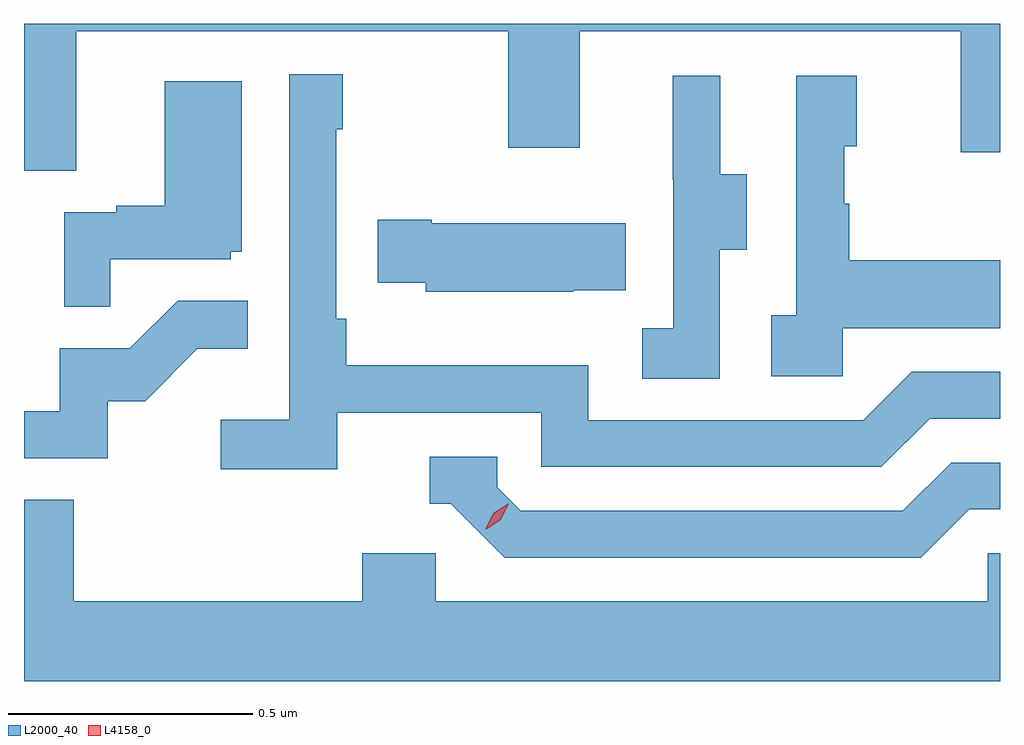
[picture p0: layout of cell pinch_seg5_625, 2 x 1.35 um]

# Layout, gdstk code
import gdstk
lib = gdstk.Library(unit=1e-6, precision=1e-09)
def P(c, l, *ps):  # polygons
    for p in ps: c.add(gdstk.Polygon(p, *l))
L2000_40 = (2000, 40)
L4158_0 = (4158, 0)

pinch_seg5_625 = lib.new_cell('pinch_seg5_625')
P(pinch_seg5_625, L2000_40, [(1016.977,864.752),(1017.862,864.752),(1017.862,864.513),(1018.009,864.513),(1018.009,864.752),(1018.79,864.752),(1018.79,864.504),(1018.87,864.504),(1018.87,864.767),(1016.87,864.767),(1016.87,864.466),(1016.977,864.466)],
  [(1017.512,863.97),(1017.93,863.97),(1017.93,863.859),(1018.627,863.859),(1018.726,863.958),(1018.87,863.958),(1018.87,864.054),(1018.689,864.054),(1018.59,863.955),(1018.026,863.955),(1018.026,864.067),(1017.53,864.067),(1017.53,864.163),(1017.51,864.163),(1017.51,864.551),(1017.523,864.551),(1017.523,864.664),(1017.414,864.664),(1017.414,863.956),(1017.273,863.956),(1017.273,863.854),(1017.512,863.854)],
  [(1018.296,864.304),(1018.351,864.304),(1018.351,864.459),(1018.297,864.459),(1018.297,864.661),(1018.199,864.661),(1018.199,864.447),(1018.2,864.447),(1018.2,864.143),(1018.137,864.143),(1018.137,864.04),(1018.296,864.04)],
  [(1018.548,864.143),(1018.87,864.143),(1018.87,864.283),(1018.561,864.283),(1018.561,864.398),(1018.551,864.398),(1018.551,864.516),(1018.576,864.516),(1018.576,864.661),(1018.452,864.661),(1018.452,864.17),(1018.401,864.17),(1018.401,864.045),(1018.548,864.045)],
  [(1017.047,864.285),(1017.294,864.285),(1017.294,864.3),(1017.316,864.3),(1017.316,864.649),(1017.158,864.649),(1017.158,864.394),(1017.059,864.394),(1017.059,864.381),(1016.952,864.381),(1016.952,864.187),(1017.047,864.187)],
  [(1017.995,864.221),(1018.103,864.221),(1018.103,864.358),(1017.706,864.358),(1017.706,864.366),(1017.595,864.366),(1017.595,864.236),(1017.693,864.236),(1017.693,864.218),(1017.995,864.218)],
  [(1017.042,863.994),(1017.118,863.994),(1017.225,864.101),(1017.329,864.101),(1017.329,864.2),(1017.185,864.2),(1017.087,864.102),(1016.943,864.102),(1016.943,863.973),(1016.87,863.973),(1016.87,863.877),(1017.042,863.877)],
  [(1018.807,863.772),(1018.87,863.772),(1018.87,863.868),(1018.77,863.868),(1018.671,863.769),(1017.888,863.769),(1017.84,863.817),(1017.84,863.88),(1017.701,863.88),(1017.701,863.784),(1017.744,863.784),(1017.855,863.673),(1018.708,863.673)],
  [(1018.87,863.682),(1018.845,863.682),(1018.845,863.584),(1017.714,863.584),(1017.714,863.682),(1017.563,863.682),(1017.563,863.584),(1016.972,863.584),(1016.972,863.792),(1016.87,863.792),(1016.87,863.42),(1018.87,863.42)])
P(pinch_seg5_625, L4158_0, [(1017.816,863.731),(1017.816,863.732),(1017.832,863.764),(1017.862,863.784),(1017.863,863.784),(1017.863,863.784),(1017.847,863.751),(1017.817,863.731)])

lib.write_gds('pinch_seg5_625.gds')
